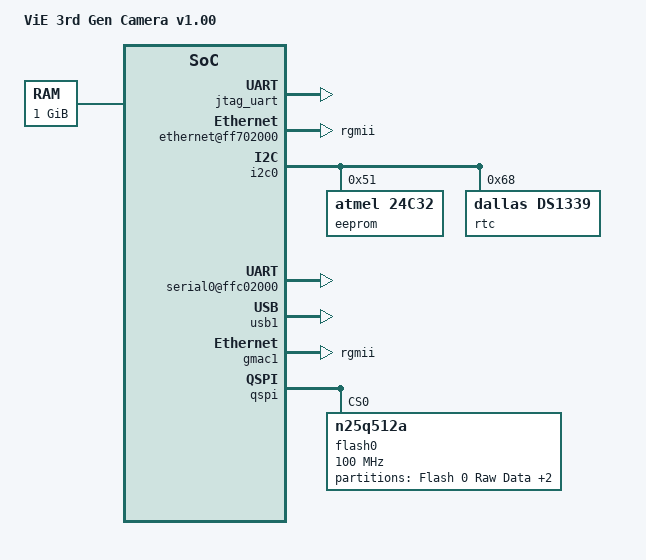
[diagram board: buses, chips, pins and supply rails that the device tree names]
/*
 * Copyright Altera Corporation (C) 2012,2014. All rights reserved.
 *
 * This program is free software; you can redistribute it and/or modify
 * it under the terms and conditions of the GNU General Public License,
 * version 2, as published by the Free Software Foundation.
 *
 * This program is distributed in the hope it will be useful, but WITHOUT
 * ANY WARRANTY; without even the implied warranty of MERCHANTABILITY or
 * FITNESS FOR A PARTICULAR PURPOSE.  See the GNU General Public License for
 * more details.
 *
 * You should have received a copy of the GNU General Public License along with
 * this program.  If not, see <http://www.gnu.org/licenses/>.
 */

/dts-v1/;
/include/ "socfpga.dtsi"

/ {
	model = "ViE 3rd Gen Camera v1.00";
	compatible = "altr,socfpga-cyclone5", "altr,socfpga";

	chosen {
		bootargs = "console=ttyS0,115200 root=/dev/mmcblk0p2 rw rootwait";
	};

	memory {
		name = "memory";
		device_type = "memory";
		reg = <0x0 0x40000000>; /* 1 GB */
	};

	aliases {
		/* this allow the ethaddr uboot environmnet variable contents
		 * to be added to the gmac1 device tree blob.
		 */
		ethernet0 = &gmac1;
	};

	soc {
		clkmgr@ffd04000 {
			clocks {
				osc1 {
					clock-frequency = <25000000>;
				};
			};
		};

		hps_0_bridges: bridge@0xc0000000 {
			compatible = "altr,bridge-1.0", "simple-bus";
			reg = < 0xC0000000 0x20000000 
				0xFF200000 0x00200000 >;
			reg-names = "axi_h2f", "axi_h2f_lw";
			#address-cells = < 2 >;
			#size-cells = < 1 >;
			ranges = < 0x00000000 0x00000000 0xC0000000 0x00010000 
				0x00000001 0x00010040 0xFF210040 0x00000010 
				0x00000001 0x00010080 0xFF210080 0x00000010 
				0x00000001 0x000100C0 0xFF2100C0 0x00000010 
				0x00000001 0x00020000 0xFF220000 0x00000008 
				0x00000001 0x00010000 0xFF210000 0x00000008 >;

			led_pio: gpio@0x100010040 {
				compatible = "ALTR,pio-13.1", "ALTR,pio-1.0", "altr,pio-1.0";
				reg = < 0x00000001 0x00010040 0x00000010 >;
				width = < 4 >;
				resetvalue = < 0 >;
				#gpio-cells = < 2 >;
				gpio-controller;
			};

			dipsw_pio: gpio@0x100010080 {
				compatible = "ALTR,pio-13.1", "ALTR,pio-1.0", "altr,pio-1.0";
				reg = < 0x00000001 0x00010080 0x00000010 >;
				interrupt-parent = < &intc >;
				interrupts = < 0 40 1 >;
				width = < 4 >;
				resetvalue = < 0 >;
				edge_type = < 2 >;
				level_trigger = < 0 >;
				#gpio-cells = < 2 >;
				gpio-controller;
			};

			button_pio: gpio@0x1000100C0 {
				compatible = "ALTR,pio-13.1", "ALTR,pio-1.0", "altr,pio-1.0";
				reg = < 0x00000001 0x000100C0 0x00000010 >;
				interrupt-parent = < &intc >;
				interrupts = < 0 41 1 >;
				width = < 3 >;
				resetvalue = < 0 >;
				edge_type = < 1 >;
				level_trigger = < 0 >;
				#gpio-cells = < 2 >;
				gpio-controller;
			};

			jtag_uart: serial@0x100020000 {
				compatible = "altr,juart-1.0";
				reg = < 0x00000001 0x00020000 0x00000008 >;
				interrupt-parent = < &intc >;
				interrupts = < 0 42 4 >;
			};

			sysid_qsys: sysid@0x100010000 {
				compatible = "altr,sysid-1.0";
				reg = < 0x00000001 0x00010000 0x00000008 >;
				id = < 2899645200 >;
				timestamp = < 1391135776 >;
			};
		};

		dwmmc0@ff704000 {
			num-slots = <1>;
			supports-highspeed;
			broken-cd;
			altr,dw-mshc-ciu-div = <3>;
			altr,dw-mshc-sdr-timing = <0 3>;

			slot@0 {
				reg = <0>;
				bus-width = <4>;
			};
		};

		ethernet@ff702000 {
			phy-mode = "rgmii";
			phy-addr = <0xffffffff>; /* probe for phy addr */
			status = "okay";
		};

		i2c0: i2c@ffc04000 {
			speed-mode = <0>;
			status = "okay";
		};

		serial0@ffc02000 {
			status = "okay";
		};

		sysmgr@ffd08000 {
			cpu1-start-addr = <0xffd080c4>;
		};

		usb1: usb@ffb40000 {
			status = "okay";
		};

		watchdog0: wd@ffd02000 {
			status = "okay";
		};
/*
		soc_leds: leds {
			compatible = "gpio-leds";

			led_fpga0: fpga0 {
				label = "fpga_led0";
				gpios = < &led_pio 0 1 >;
			};

			led_fpga1: fpga1 {
				label = "fpga_led1";
				gpios = < &led_pio 1 1 >;
			};

			led_fpga2: fpga2 {
				label = "fpga_led2";
				gpios = < &led_pio 2 1 >;
			};

			led_fpga3: fpga3 {
				label = "fpga_led3";
				gpios = < &led_pio 3 1 >;
			};
		};
*/
	};
};

&i2c0 {
	/*
	 * adjust the falling times to decrease the i2c frequency to 50Khz
	 * because the LCD module does not work at the standard 100Khz
	 */
	i2c-sda-falling-time-ns = <5000>;
	i2c-scl-falling-time-ns = <5000>;

	eeprom@51 {
		compatible = "atmel,24c32";
		reg = <0x51>;
		pagesize = <32>;
	};

	rtc@68 {
		compatible = "dallas,ds1339";
		reg = <0x68>;
	};
};

&gmac1 {
	phy-mode = "rgmii";
	snps,phy-addr = <0xffffffff>; /* probe for phy addr */
	rxd0-skew-ps = <0>;
	rxd0-skew-ps = <0>;
	rxd1-skew-ps = <0>;
	rxd2-skew-ps = <0>;
	rxd3-skew-ps = <0>;
	txen-skew-ps = <0>;
	txc-skew-ps = <2600>;
	rxdv-skew-ps = <0>;
	rxc-skew-ps = <2000>;
	snps,max-mtu = <3800>;
	status = "okay";
};

&qspi {
	status = "okay";
	flash0: n25q512a@0 {
		#address-cells = <1>;
		#size-cells = <1>;
		compatible = "n25q512a";
		reg = <0>;      /* chip select */
		spi-max-frequency = <100000000>;
		m25p,fast-read;
		page-size = <256>;
		block-size = <16>; /* 2^16, 64KB */
		read-delay = <4>;  /* delay value in read data capture register */
		tshsl-ns = <50>;
		tsd2d-ns = <50>;
		tchsh-ns = <4>;
		tslch-ns = <4>;

		partition@qspi-boot {
			/* 8MB for raw data. */
			label = "Flash 0 Raw Data";
			reg = <0x0 0x800000>;
		};
		partition@qspi-rootfs {
			/* 48MB for jffs2 data. */
			label = "Flash 0 jffs2 Filesystem";
			reg = <0x800000 0x3000000>;
		};
		partition@qspi-fpga {
			/* 8MB for FPGA Image. */
			label = "Flash 0 FPGA Image";
			reg = <0x3800000 0x800000>;
		};
	};
};
